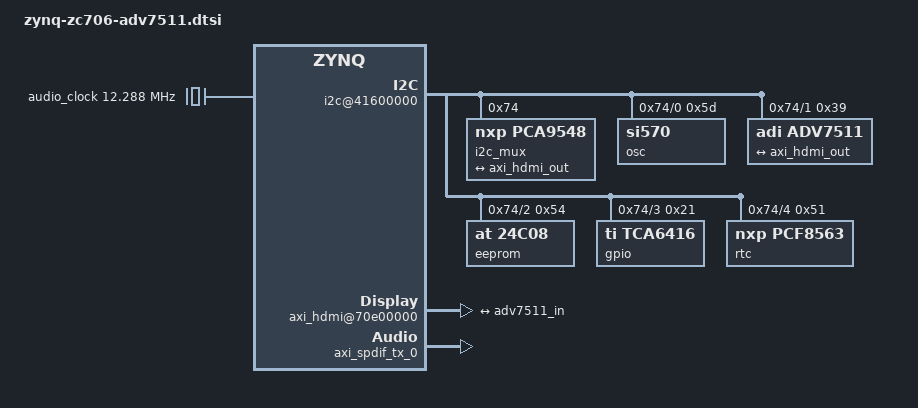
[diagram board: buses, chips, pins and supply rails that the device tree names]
#include <dt-bindings/interrupt-controller/irq.h>

/ {
	fpga_axi: fpga-axi@0 {
		compatible = "simple-bus";
		#address-cells = <0x1>;
		#size-cells = <0x1>;
		ranges;

		i2c@41600000 {
			compatible = "xlnx,axi-iic-1.02.a", "xlnx,xps-iic-2.00.a";
			reg = <0x41600000 0x10000>;
			interrupt-parent = <&intc>;
			interrupts = <0 58 IRQ_TYPE_LEVEL_HIGH>;
			clocks = <&clkc 15>;
			clock-names = "pclk";

			#address-cells = <1>;
			#size-cells = <0>;

			i2c_mux: i2cswitch@74 {
				compatible = "nxp,pca9548";
				#address-cells = <1>;
				#size-cells = <0>;
				reg = <0x74>;

				i2c@0 {
					#address-cells = <1>;
					#size-cells = <0>;
					reg = <0>;
					osc@5d {
						compatible = "si570";
						temperature-stability = <50>;
						reg = <0x5d>;
						factory-fout = <156250000>;
						initial-fout = <148500000>;
					};
				};

				i2c@1 {
				    #address-cells = <1>;
				    #size-cells = <0>;
				    reg = <1>;

				    adv7511: adv7511 {
						compatible = "adi,adv7511";
						reg = <0x39>, <0x3f>;
						reg-names = "primary", "edid";

						adi,input-depth = <8>;
						adi,input-colorspace = "rgb";
						adi,input-clock = "1x";
						adi,clock-delay = <0>;

						#sound-dai-cells = <0>;

						ports {
							#address-cells = <1>;
							#size-cells = <0>;

							port@0 {
								reg = <0>;
								adv7511_in: endpoint {
									remote-endpoint = <&axi_hdmi_out>;
								};
							};

							port@1 {
								reg = <1>;
							};
						};
				    };
				};

				i2c@2 {
					#address-cells = <1>;
					#size-cells = <0>;
					reg = <2>;
					eeprom@54 {
						compatible = "at,24c08";
						reg = <0x54>;
					};
				};

				i2c@3 {
					#address-cells = <1>;
					#size-cells = <0>;
					reg = <3>;
					gpio@21 {
						compatible = "ti,tca6416";
						reg = <0x21>;
						gpio-controller;
						#gpio-cells = <2>;
					};
				};

				i2c@4 {
					#address-cells = <1>;
					#size-cells = <0>;
					reg = <4>;
					rtc@51 {
						compatible = "nxp,pcf8563";
						reg = <0x51>;
					};
				};
			};
		};

		hdmi_dma: dma@43000000 {
			compatible = "adi,axi-dmac-1.00.a";
			reg = <0x43000000 0x10000>;
			#dma-cells = <1>;
			interrupts = <0 59 IRQ_TYPE_LEVEL_HIGH>;
			clocks = <&clkc 16>;

			adi,channels {
				#size-cells = <0>;
				#address-cells = <1>;

				dma-channel@0 {
					reg = <0>;
					adi,source-bus-width = <64>;
					adi,source-bus-type = <0>;
					adi,destination-bus-width = <64>;
					adi,destination-bus-type = <1>;
				};
			};
		};

		hdmi_clock: axi-clkgen@79000000 {
			compatible = "adi,axi-clkgen-2.00.a";
			reg = <0x79000000 0x10000>;
			#clock-cells = <0>;
			clocks = <&clkc 15>, <&clkc 16>;
			clock-names = "s_axi_aclk", "clkin1";
		};

		axi_hdmi@70e00000 {
			compatible = "adi,axi-hdmi-tx-1.00.a";
			reg = <0x70e00000 0x10000>;
			dmas = <&hdmi_dma 0>;
			dma-names = "video";
			clocks = <&hdmi_clock>;
			adi,is-rgb;

			port {
				axi_hdmi_out: endpoint {
					remote-endpoint = <&adv7511_in>;
				};
			};
		};

		axi_spdif_tx_0: axi-spdif-tx@75c00000 {
			compatible = "adi,axi-spdif-tx-1.00.a";
			reg = <0x75c00000 0x1000>;
			dmas = <&dmac_s 0>;
			dma-names = "tx";
			clocks = <&clkc 15>, <&audio_clock>;
			clock-names = "axi", "ref";

			#sound-dai-cells = <0>;
		};

		axi_sysid_0: axi-sysid-0@45000000 {
			compatible = "adi,axi-sysid-1.00.a";
			reg = <0x45000000 0x10000>;
		};

	};

	audio_clock: audio_clock {
		compatible = "fixed-clock";
		#clock-cells = <0>;
		clock-frequency = <12288000>;
	};

	adv7511_hdmi_snd {
		compatible = "simple-audio-card";
		simple-audio-card,name = "HDMI monitor";
		simple-audio-card,widgets =
			"Speaker", "Speaker";
		simple-audio-card,routing =
			"Speaker", "TX";

		simple-audio-card,dai-link@0 {
			format = "spdif";
			cpu {
				sound-dai = <&axi_spdif_tx_0>;
				frame-master;
				bitclock-master;
			};
			codec {
				sound-dai = <&adv7511>;
			};
		};
	};
};
